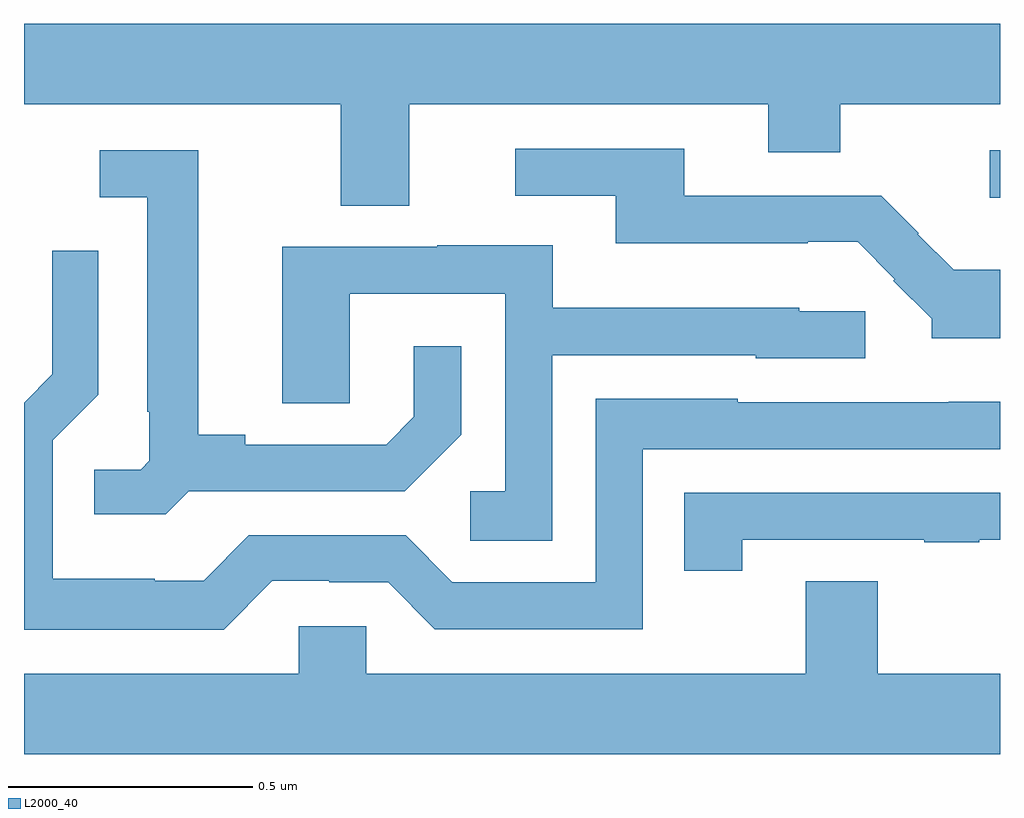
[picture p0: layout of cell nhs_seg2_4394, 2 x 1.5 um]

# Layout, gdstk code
import gdstk
lib = gdstk.Library(unit=1e-6, precision=1e-09)
def R(c, l, rs):  # rectangles x0, y0, x1, y1
    for r in rs: c.add(gdstk.rectangle(r[:2], r[2:], *l))
def P(c, l, *ps):  # polygons
    for p in ps: c.add(gdstk.Polygon(p, *l))
L2000_40 = (2000, 40)

nhs_seg2_4394 = lib.new_cell('nhs_seg2_4394')
R(nhs_seg2_4394, L2000_40, [(167.979,598.16,168,598.257)])
P(nhs_seg2_4394, L2000_40, [(166.789,598.352),(167.525,598.352),(167.525,598.253),(167.673,598.253),(167.673,598.352),(168,598.352),(168,598.516),(166,598.516),(166,598.352),(166.649,598.352),(166.649,598.144),(166.789,598.144)],
  [(168,598.012),(167.905,598.012),(167.831,598.085),(167.833,598.087),(167.757,598.164),(167.353,598.164),(167.353,598.26),(167.007,598.26),(167.007,598.164),(167.213,598.164),(167.213,598.067),(167.606,598.067),(167.606,598.07),(167.708,598.07),(167.784,597.993),(167.781,597.99),(167.86,597.912),(167.86,597.872),(168,597.872)],
  [(166.338,597.558),(166.78,597.558),(166.896,597.674),(166.896,597.856),(166.799,597.856),(166.799,597.711),(166.742,597.654),(166.453,597.654),(166.453,597.674),(166.357,597.674),(166.357,598.257),(166.155,598.257),(166.155,598.161),(166.253,598.161),(166.253,597.721),(166.257,597.721),(166.257,597.621),(166.239,597.603),(166.144,597.603),(166.144,597.511),(166.29,597.511)],
  [(167.082,597.837),(167.499,597.837),(167.499,597.831),(167.724,597.831),(167.724,597.927),(167.589,597.927),(167.589,597.934),(167.083,597.934),(167.083,598.063),(166.847,598.063),(166.847,598.059),(166.529,598.059),(166.529,597.739),(166.668,597.739),(166.668,597.963),(166.986,597.963),(166.986,597.558),(166.914,597.558),(166.914,597.457),(167.082,597.457)],
  [(166.509,597.375),(166.626,597.375),(166.626,597.372),(166.746,597.372),(166.842,597.276),(167.268,597.276),(167.268,597.645),(168,597.645),(168,597.742),(167.895,597.742),(167.895,597.741),(167.463,597.741),(167.463,597.748),(167.172,597.748),(167.172,597.372),(166.878,597.372),(166.782,597.468),(166.461,597.468),(166.368,597.375),(166.268,597.375),(166.268,597.379),(166.059,597.379),(166.059,597.663),(166.152,597.756),(166.152,598.051),(166.058,598.051),(166.058,597.798),(166,597.74),(166,597.275),(166.409,597.275)],
  [(167.472,597.459),(167.845,597.459),(167.845,597.454),(167.957,597.454),(167.957,597.459),(168,597.459),(168,597.555),(167.353,597.555),(167.353,597.396),(167.472,597.396)],
  [(168,597.184),(167.749,597.184),(167.749,597.374),(167.602,597.374),(167.602,597.184),(166.701,597.184),(166.701,597.282),(166.563,597.282),(166.563,597.184),(166,597.184),(166,597.02),(168,597.02)])

lib.write_gds('nhs_seg2_4394.gds')
